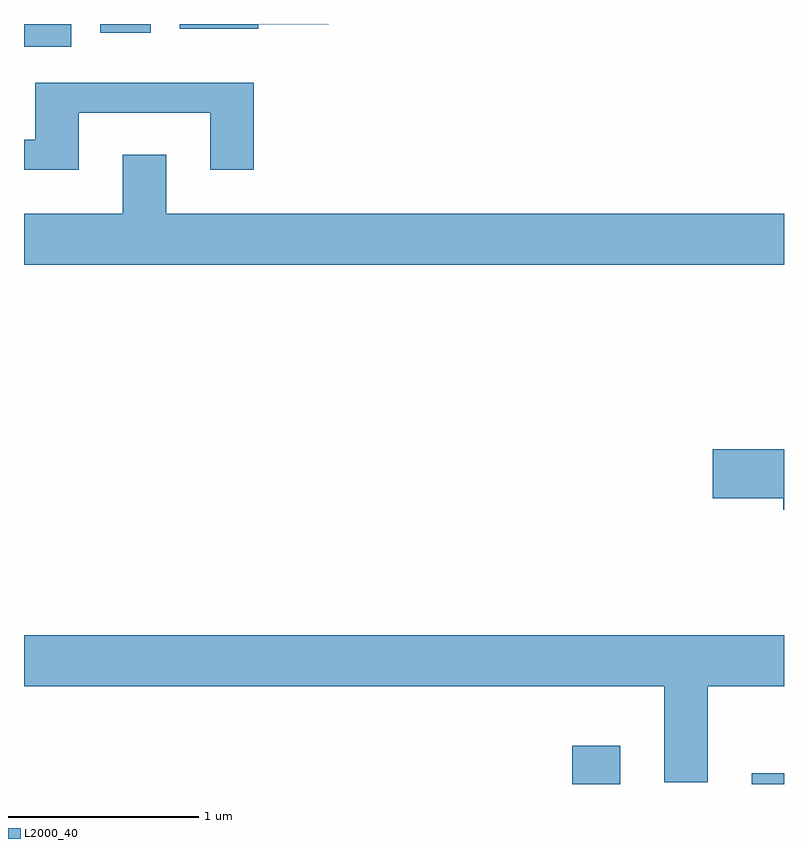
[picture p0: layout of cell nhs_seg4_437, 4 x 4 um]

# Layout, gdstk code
import gdstk
lib = gdstk.Library(unit=1e-6, precision=1e-09)
def R(c, l, rs):  # rectangles x0, y0, x1, y1
    for r in rs: c.add(gdstk.rectangle(r[:2], r[2:], *l))
def P(c, l, *ps):  # polygons
    for p in ps: c.add(gdstk.Polygon(p, *l))
L2000_40 = (2000, 40)

nhs_seg4_437 = lib.new_cell('nhs_seg4_437')
R(nhs_seg4_437, L2000_40, [(200.496,1311.982,200.749,1312.184), (201.441,1311.982,201.611,1312.039), (197.611,1315.861,197.859,1315.982), (198.011,1315.936,198.279,1315.982)])
P(nhs_seg4_437, L2000_40, [(198.844,1315.981),(199.214,1315.981),(199.214,1315.982),(198.431,1315.982),(198.431,1315.956),(198.844,1315.956)],
  [(197.899,1315.516),(198.591,1315.516),(198.591,1315.216),(198.819,1315.216),(198.819,1315.674),(197.671,1315.674),(197.671,1315.374),(197.611,1315.374),(197.611,1315.216),(197.899,1315.216)],
  [(201.611,1314.984),(198.359,1314.984),(198.359,1315.294),(198.131,1315.294),(198.131,1314.984),(197.611,1314.984),(197.611,1314.716),(201.611,1314.716)],
  [(201.611,1313.744),(201.236,1313.744),(201.236,1313.486),(201.606,1313.486),(201.606,1313.426),(201.611,1313.426)],
  [(201.209,1312.496),(201.611,1312.496),(201.611,1312.764),(197.611,1312.764),(197.611,1312.496),(200.981,1312.496),(200.981,1311.991),(201.209,1311.991)])

lib.write_gds('nhs_seg4_437.gds')
